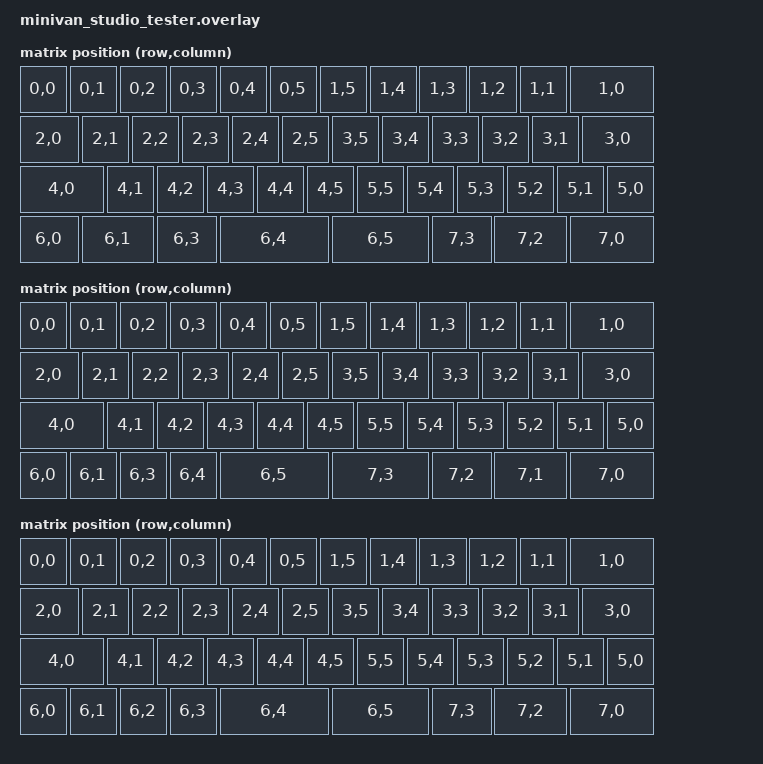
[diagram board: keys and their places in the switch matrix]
/*
 * Copyright (c) 2024 The ZMK Contributors
 *
 * SPDX-License-Identifier: MIT
 */

#include <dt-bindings/zmk/matrix_transform.h>
#include <physical_layouts.dtsi>

&kscan {
    /delete-property/ exit-after;
    events = <>;
};

&uart1 { status = "okay"; };

/ {
    chosen {
        zmk,physical-layout = &standard_layout;
        zmk,studio-rpc-uart = &uart1;
    };

    standard_transform: standard_transform {
        compatible = "zmk,matrix-transform";
        rows = <4>;
        columns = <12>;

        map = <
    RC(0,0) RC(0,1) RC(0,2) RC(0,3) RC(0,4) RC(0,5) RC(1,5) RC(1,4) RC(1,3) RC(1,2) RC(1,1)     RC(1,0)
    RC(2,0)   RC(2,1) RC(2,2) RC(2,3) RC(2,4) RC(2,5) RC(3,5) RC(3,4) RC(3,3) RC(3,2) RC(3,1)   RC(3,0)
    RC(4,0)     RC(4,1) RC(4,2) RC(4,3) RC(4,4) RC(4,5) RC(5,5) RC(5,4) RC(5,3) RC(5,2) RC(5,1) RC(5,0)
    RC(6,0)    RC(6,1)    RC(6,3)          RC(6,4)     RC(6,5)       RC(7,3)     RC(7,2)        RC(7,0)
    >;
    };

    arrows_transform: arrows_transform {
        compatible = "zmk,matrix-transform";
        rows = <4>;
        columns = <12>;

        map = <
    RC(0,0) RC(0,1) RC(0,2) RC(0,3) RC(0,4) RC(0,5) RC(1,5) RC(1,4) RC(1,3) RC(1,2) RC(1,1)     RC(1,0)
    RC(2,0)   RC(2,1) RC(2,2) RC(2,3) RC(2,4) RC(2,5) RC(3,5) RC(3,4) RC(3,3) RC(3,2) RC(3,1)   RC(3,0)
    RC(4,0)     RC(4,1) RC(4,2) RC(4,3) RC(4,4) RC(4,5) RC(5,5) RC(5,4) RC(5,3) RC(5,2) RC(5,1) RC(5,0)
    RC(6,0)    RC(6,1)    RC(6,3)          RC(6,4)     RC(6,5)       RC(7,3)    RC(7,2) RC(7,1) RC(7,0)
    >;
    };

    southpaw_transform: southpaw_transform {
        compatible = "zmk,matrix-transform";
        rows = <4>;
        columns = <12>;

        map = <
    RC(0,0) RC(0,1) RC(0,2) RC(0,3) RC(0,4) RC(0,5) RC(1,5) RC(1,4) RC(1,3) RC(1,2) RC(1,1)     RC(1,0)
    RC(2,0)   RC(2,1) RC(2,2) RC(2,3) RC(2,4) RC(2,5) RC(3,5) RC(3,4) RC(3,3) RC(3,2) RC(3,1)   RC(3,0)
    RC(4,0)     RC(4,1) RC(4,2) RC(4,3) RC(4,4) RC(4,5) RC(5,5) RC(5,4) RC(5,3) RC(5,2) RC(5,1) RC(5,0)
    RC(6,0)    RC(6,1) RC(6,2)   RC(6,3)   RC(6,4)     RC(6,5)       RC(7,3)     RC(7,2)        RC(7,0)
    >;
    };

    jetvan_transform: jetvan_transform {
        compatible = "zmk,matrix-transform";
        rows = <4>;
        columns = <12>;

        map = <
    RC(0,0) RC(0,1) RC(0,2) RC(0,3) RC(0,4) RC(0,5) RC(1,5) RC(1,4) RC(1,3) RC(1,2) RC(1,1)     RC(1,0)
    RC(2,0)   RC(2,1) RC(2,2) RC(2,3) RC(2,4) RC(2,5) RC(3,5) RC(3,4) RC(3,3) RC(3,2) RC(3,1)   RC(3,0)
    RC(4,0)     RC(4,1) RC(4,2) RC(4,3) RC(4,4) RC(4,5) RC(5,5) RC(5,4) RC(5,3) RC(5,2) RC(5,1) RC(5,0)
    RC(6,0)    RC(6,1) RC(6,2)                 RC(6,4)                          RC(7,3) RC(7,2) RC(7,0)
    >;
    };

    standard_layout: standard_layout {
        compatible = "zmk,physical-layout";
        display-name = "Standard";

        transform = <&standard_transform>;
        kscan = <&kscan>;

        keys
            = <&key_physical_attrs 100 100 000  000 0 0 0>
            , <&key_physical_attrs 100 100 100  000 0 0 0>
            , <&key_physical_attrs 100 100 200  000 0 0 0>
            , <&key_physical_attrs 100 100 300  000 0 0 0>
            , <&key_physical_attrs 100 100 400  000 0 0 0>
            , <&key_physical_attrs 100 100 500  000 0 0 0>
            , <&key_physical_attrs 100 100 600  000 0 0 0>
            , <&key_physical_attrs 100 100 700  000 0 0 0>
            , <&key_physical_attrs 100 100 800  000 0 0 0>
            , <&key_physical_attrs 100 100 900  000 0 0 0>
            , <&key_physical_attrs 100 100 1000 000 0 0 0>
            , <&key_physical_attrs 175 100 1100 000 0 0 0>

            , <&key_physical_attrs 125 100 000  100 0 0 0>
            , <&key_physical_attrs 100 100 125  100 0 0 0>
            , <&key_physical_attrs 100 100 225  100 0 0 0>
            , <&key_physical_attrs 100 100 325  100 0 0 0>
            , <&key_physical_attrs 100 100 425  100 0 0 0>
            , <&key_physical_attrs 100 100 525  100 0 0 0>
            , <&key_physical_attrs 100 100 625  100 0 0 0>
            , <&key_physical_attrs 100 100 725  100 0 0 0>
            , <&key_physical_attrs 100 100 825  100 0 0 0>
            , <&key_physical_attrs 100 100 925  100 0 0 0>
            , <&key_physical_attrs 100 100 1025 100 0 0 0>
            , <&key_physical_attrs 150 100 1125 100 0 0 0>

            , <&key_physical_attrs 175 100 000  200 0 0 0>
            , <&key_physical_attrs 100 100 175  200 0 0 0>
            , <&key_physical_attrs 100 100 275  200 0 0 0>
            , <&key_physical_attrs 100 100 375  200 0 0 0>
            , <&key_physical_attrs 100 100 475  200 0 0 0>
            , <&key_physical_attrs 100 100 575  200 0 0 0>
            , <&key_physical_attrs 100 100 675  200 0 0 0>
            , <&key_physical_attrs 100 100 775  200 0 0 0>
            , <&key_physical_attrs 100 100 875  200 0 0 0>
            , <&key_physical_attrs 100 100 975  200 0 0 0>
            , <&key_physical_attrs 100 100 1075 200 0 0 0>
            , <&key_physical_attrs 100 100 1175 200 0 0 0>

            , <&key_physical_attrs 125 100 000  300 0 0 0>
            , <&key_physical_attrs 150 100 125  300 0 0 0>
            , <&key_physical_attrs 125 100 275  300 0 0 0>
            , <&key_physical_attrs 225 100 400  300 0 0 0>
            , <&key_physical_attrs 200 100 625  300 0 0 0>
            , <&key_physical_attrs 125 100 825  300 0 0 0>
            , <&key_physical_attrs 150 100 950  300 0 0 0>
            , <&key_physical_attrs 175 100 1100 300 0 0 0>
            ;
    };

    southpaw_layout: southpaw_layout {
        compatible = "zmk,physical-layout";
        display-name = "Southpaw";

        transform = <&southpaw_transform>;
        kscan = <&kscan>;

        keys
            = <&key_physical_attrs 100 100 000  000 0 0 0>
            , <&key_physical_attrs 100 100 100  000 0 0 0>
            , <&key_physical_attrs 100 100 200  000 0 0 0>
            , <&key_physical_attrs 100 100 300  000 0 0 0>
            , <&key_physical_attrs 100 100 400  000 0 0 0>
            , <&key_physical_attrs 100 100 500  000 0 0 0>
            , <&key_physical_attrs 100 100 600  000 0 0 0>
            , <&key_physical_attrs 100 100 700  000 0 0 0>
            , <&key_physical_attrs 100 100 800  000 0 0 0>
            , <&key_physical_attrs 100 100 900  000 0 0 0>
            , <&key_physical_attrs 100 100 1000 000 0 0 0>
            , <&key_physical_attrs 175 100 1100 000 0 0 0>

            , <&key_physical_attrs 125 100 000  100 0 0 0>
            , <&key_physical_attrs 100 100 125  100 0 0 0>
            , <&key_physical_attrs 100 100 225  100 0 0 0>
            , <&key_physical_attrs 100 100 325  100 0 0 0>
            , <&key_physical_attrs 100 100 425  100 0 0 0>
            , <&key_physical_attrs 100 100 525  100 0 0 0>
            , <&key_physical_attrs 100 100 625  100 0 0 0>
            , <&key_physical_attrs 100 100 725  100 0 0 0>
            , <&key_physical_attrs 100 100 825  100 0 0 0>
            , <&key_physical_attrs 100 100 925  100 0 0 0>
            , <&key_physical_attrs 100 100 1025 100 0 0 0>
            , <&key_physical_attrs 150 100 1125 100 0 0 0>

            , <&key_physical_attrs 175 100 000  200 0 0 0>
            , <&key_physical_attrs 100 100 175  200 0 0 0>
            , <&key_physical_attrs 100 100 275  200 0 0 0>
            , <&key_physical_attrs 100 100 375  200 0 0 0>
            , <&key_physical_attrs 100 100 475  200 0 0 0>
            , <&key_physical_attrs 100 100 575  200 0 0 0>
            , <&key_physical_attrs 100 100 675  200 0 0 0>
            , <&key_physical_attrs 100 100 775  200 0 0 0>
            , <&key_physical_attrs 100 100 875  200 0 0 0>
            , <&key_physical_attrs 100 100 975  200 0 0 0>
            , <&key_physical_attrs 100 100 1075 200 0 0 0>
            , <&key_physical_attrs 100 100 1175 200 0 0 0>

            , <&key_physical_attrs 100 100 000  300 0 0 0>
            , <&key_physical_attrs 100 100 100  300 0 0 0>
            , <&key_physical_attrs 100 100 200  300 0 0 0>
            , <&key_physical_attrs 100 100 300  300 0 0 0>
            , <&key_physical_attrs 225 100 400  300 0 0 0>
            , <&key_physical_attrs 200 100 625  300 0 0 0>
            , <&key_physical_attrs 125 100 825  300 0 0 0>
            , <&key_physical_attrs 150 100 950  300 0 0 0>
            , <&key_physical_attrs 175 100 1100 300 0 0 0>
            ;
    };

    arrows_layout: arrows_layout {
        compatible = "zmk,physical-layout";
        display-name = "Arrows";

        transform = <&arrows_transform>;
        kscan = <&kscan>;

        keys
            = <&key_physical_attrs 100 100 000  000 0 0 0>
            , <&key_physical_attrs 100 100 100  000 0 0 0>
            , <&key_physical_attrs 100 100 200  000 0 0 0>
            , <&key_physical_attrs 100 100 300  000 0 0 0>
            , <&key_physical_attrs 100 100 400  000 0 0 0>
            , <&key_physical_attrs 100 100 500  000 0 0 0>
            , <&key_physical_attrs 100 100 600  000 0 0 0>
            , <&key_physical_attrs 100 100 700  000 0 0 0>
            , <&key_physical_attrs 100 100 800  000 0 0 0>
            , <&key_physical_attrs 100 100 900  000 0 0 0>
            , <&key_physical_attrs 100 100 1000 000 0 0 0>
            , <&key_physical_attrs 175 100 1100 000 0 0 0>

            , <&key_physical_attrs 125 100 000  100 0 0 0>
            , <&key_physical_attrs 100 100 125  100 0 0 0>
            , <&key_physical_attrs 100 100 225  100 0 0 0>
            , <&key_physical_attrs 100 100 325  100 0 0 0>
            , <&key_physical_attrs 100 100 425  100 0 0 0>
            , <&key_physical_attrs 100 100 525  100 0 0 0>
            , <&key_physical_attrs 100 100 625  100 0 0 0>
            , <&key_physical_attrs 100 100 725  100 0 0 0>
            , <&key_physical_attrs 100 100 825  100 0 0 0>
            , <&key_physical_attrs 100 100 925  100 0 0 0>
            , <&key_physical_attrs 100 100 1025 100 0 0 0>
            , <&key_physical_attrs 150 100 1125 100 0 0 0>

            , <&key_physical_attrs 175 100 000  200 0 0 0>
            , <&key_physical_attrs 100 100 175  200 0 0 0>
            , <&key_physical_attrs 100 100 275  200 0 0 0>
            , <&key_physical_attrs 100 100 375  200 0 0 0>
            , <&key_physical_attrs 100 100 475  200 0 0 0>
            , <&key_physical_attrs 100 100 575  200 0 0 0>
            , <&key_physical_attrs 100 100 675  200 0 0 0>
            , <&key_physical_attrs 100 100 775  200 0 0 0>
            , <&key_physical_attrs 100 100 875  200 0 0 0>
            , <&key_physical_attrs 100 100 975  200 0 0 0>
            , <&key_physical_attrs 100 100 1075 200 0 0 0>
            , <&key_physical_attrs 100 100 1175 200 0 0 0>

            , <&key_physical_attrs 125 100 000  300 0 0 0>
            , <&key_physical_attrs 150 100 125  300 0 0 0>
            , <&key_physical_attrs 125 100 275  300 0 0 0>
            , <&key_physical_attrs 225 100 400  300 0 0 0>
            , <&key_physical_attrs 200 100 625  300 0 0 0>
            , <&key_physical_attrs 150 100 825  300 0 0 0>
            , <&key_physical_attrs 100 100 975  300 0 0 0>
            , <&key_physical_attrs 100 100 1075 300 0 0 0>
            , <&key_physical_attrs 100 100 1175 300 0 0 0>
            ;
    };

    jetvan_layout: jetvan_layout {
        compatible = "zmk,physical-layout";
        display-name = "JetVan";

        transform = <&jetvan_transform>;
        kscan = <&kscan>;

        keys
            = <&key_physical_attrs 100 100 000  000 0 0 0>
            , <&key_physical_attrs 100 100 100  000 0 0 0>
            , <&key_physical_attrs 100 100 200  000 0 0 0>
            , <&key_physical_attrs 100 100 300  000 0 0 0>
            , <&key_physical_attrs 100 100 400  000 0 0 0>
            , <&key_physical_attrs 100 100 500  000 0 0 0>
            , <&key_physical_attrs 100 100 600  000 0 0 0>
            , <&key_physical_attrs 100 100 700  000 0 0 0>
            , <&key_physical_attrs 100 100 800  000 0 0 0>
            , <&key_physical_attrs 100 100 900  000 0 0 0>
            , <&key_physical_attrs 100 100 1000 000 0 0 0>
            , <&key_physical_attrs 175 100 1100 000 0 0 0>

            , <&key_physical_attrs 125 100 000  100 0 0 0>
            , <&key_physical_attrs 100 100 125  100 0 0 0>
            , <&key_physical_attrs 100 100 225  100 0 0 0>
            , <&key_physical_attrs 100 100 325  100 0 0 0>
            , <&key_physical_attrs 100 100 425  100 0 0 0>
            , <&key_physical_attrs 100 100 525  100 0 0 0>
            , <&key_physical_attrs 100 100 625  100 0 0 0>
            , <&key_physical_attrs 100 100 725  100 0 0 0>
            , <&key_physical_attrs 100 100 825  100 0 0 0>
            , <&key_physical_attrs 100 100 925  100 0 0 0>
            , <&key_physical_attrs 100 100 1025 100 0 0 0>
            , <&key_physical_attrs 150 100 1125 100 0 0 0>

            , <&key_physical_attrs 175 100 000  200 0 0 0>
            , <&key_physical_attrs 100 100 175  200 0 0 0>
            , <&key_physical_attrs 100 100 275  200 0 0 0>
            , <&key_physical_attrs 100 100 375  200 0 0 0>
            , <&key_physical_attrs 100 100 475  200 0 0 0>
            , <&key_physical_attrs 100 100 575  200 0 0 0>
            , <&key_physical_attrs 100 100 675  200 0 0 0>
            , <&key_physical_attrs 100 100 775  200 0 0 0>
            , <&key_physical_attrs 100 100 875  200 0 0 0>
            , <&key_physical_attrs 100 100 975  200 0 0 0>
            , <&key_physical_attrs 100 100 1075 200 0 0 0>
            , <&key_physical_attrs 100 100 1175 200 0 0 0>

            , <&key_physical_attrs 125 100 000  300 0 0 0>
            , <&key_physical_attrs 100 100 125  300 0 0 0>
            , <&key_physical_attrs 125 100 225  300 0 0 0>
            , <&key_physical_attrs 625 100 350  300 0 0 0>
            , <&key_physical_attrs 100 100 975  300 0 0 0>
            , <&key_physical_attrs 100 100 1075 300 0 0 0>
            , <&key_physical_attrs 100 100 1175 300 0 0 0>
            ;
    };

    pos_map {
        compatible = "zmk,physical-layout-position-map";
        std {
            physical-layout = <&standard_layout>;
            positions
                = < 36 37 38  39  40 41  42 43  44 >;
        };

        arrows {
            physical-layout = <&arrows_layout>;
            positions
                = < 36 37 38  39  40   42 43 44 41>;
        };

        southpaw {
            physical-layout = <&southpaw_layout>;
            positions
                = < 36 37 39   40  41  42 43 44 38>;
        };

        jetvan {
            physical-layout = <&jetvan_layout>;
            positions
                = < 36 37 38 43 39    40 41 42 44>;
        };

    };
};
